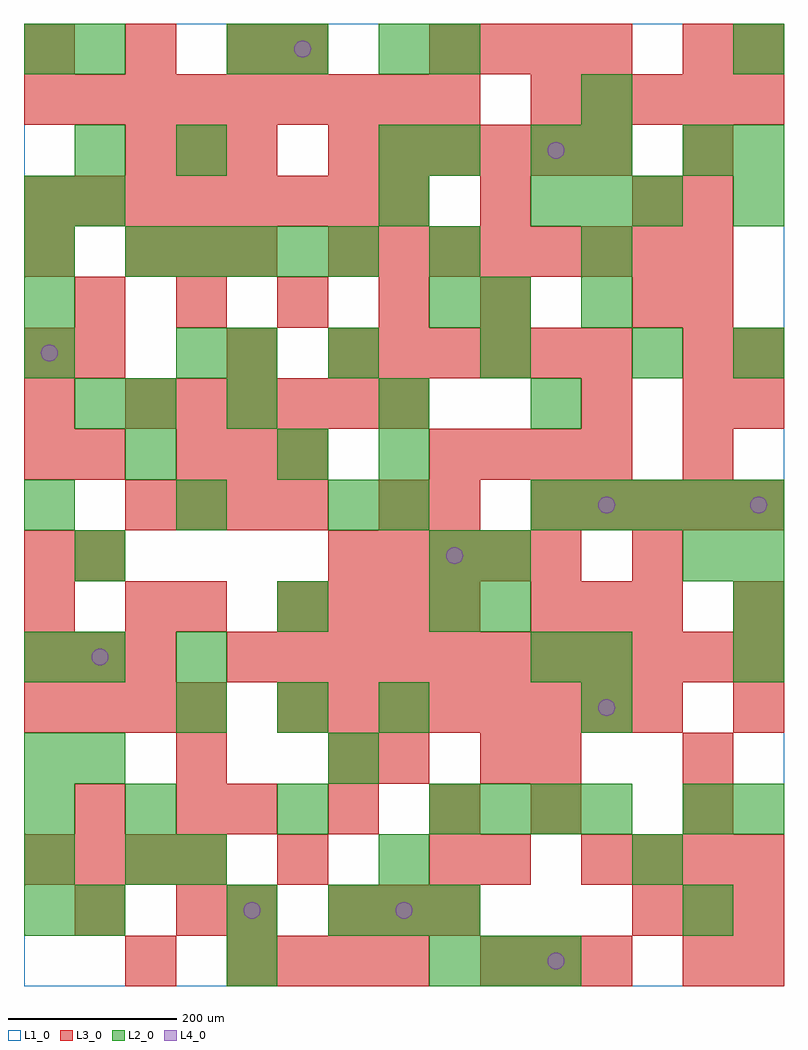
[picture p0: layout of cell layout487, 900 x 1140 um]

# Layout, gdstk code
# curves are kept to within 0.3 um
import gdstk
lib = gdstk.Library(unit=1e-6, precision=1e-09)
def R(c, l, rs):  # rectangles x0, y0, x1, y1
    for r in rs: c.add(gdstk.rectangle(r[:2], r[2:], *l))
def A(c, l, x, y, w, h, nx, ny, dx, dy):  # array of equal rectangles
    R(c, l, [(x+i*dx, y+j*dy, x+i*dx+w, y+j*dy+h) for i in range(nx) for j in range(ny)])
def P(c, l, *ps):  # polygons
    for p in ps: c.add(gdstk.Polygon(p, *l))
L1_0 = (1, 0)
L2_0 = (2, 0)
L3_0 = (3, 0)
L4_0 = (4, 0)

layout487 = lib.new_cell('layout487')
R(layout487, L1_0, [(0,0,900,1140)])
A(layout487, L2_0, 480, 0, 60, 60, 3, 1, 60, 0)
A(layout487, L2_0, 0, 60, 60, 60, 1, 4, 0, 60)
A(layout487, L2_0, 360, 60, 60, 60, 3, 1, 60, 0)
A(layout487, L2_0, 120, 180, 60, 60, 3, 1, 180, 0)
A(layout487, L2_0, 540, 180, 60, 60, 3, 1, 60, 0)
A(layout487, L2_0, 60, 240, 60, 60, 1, 3, 0, 120)
A(layout487, L2_0, 180, 300, 60, 60, 3, 1, 120, 0)
A(layout487, L2_0, 840, 360, 60, 60, 1, 3, 0, 60)
A(layout487, L2_0, 0, 540, 60, 60, 3, 1, 180, 0)
A(layout487, L2_0, 600, 540, 60, 60, 5, 1, 60, 0)
A(layout487, L2_0, 240, 660, 60, 60, 3, 1, 180, 0)
A(layout487, L2_0, 0, 720, 60, 60, 1, 4, 0, 60)
A(layout487, L2_0, 360, 720, 60, 60, 3, 1, 180, 0)
A(layout487, L2_0, 120, 840, 60, 60, 5, 1, 60, 0)
A(layout487, L2_0, 480, 840, 60, 60, 1, 3, 0, 120)
A(layout487, L2_0, 600, 900, 60, 60, 3, 1, 60, 0)
R(layout487, L2_0, [(240,0,300,60), (60,60,120,120), (240,60,300,120), (780,60,840,120), (120,120,180,180), (180,120,240,180), (420,120,480,180), (720,120,780,180), (780,180,840,240), (840,180,900,240), (360,240,420,300), (660,300,720,360), (0,360,60,420), (180,360,240,420), (600,360,660,420), (660,360,720,420), (300,420,360,480), (480,420,540,480), (540,420,600,480), (480,480,540,540), (540,480,600,540), (780,480,840,540), (420,540,480,600), (120,600,180,660), (300,600,360,660), (420,600,480,660), (60,660,120,720), (120,660,180,720), (180,720,240,780), (240,720,300,780), (840,720,900,780), (480,780,540,840), (540,780,600,840), (660,780,720,840), (660,840,720,900), (60,900,120,960), (420,900,480,960), (840,900,900,960), (60,960,120,1020), (180,960,240,1020), (420,960,480,1020), (600,960,660,1020), (660,960,720,1020), (780,960,840,1020), (840,960,900,1020), (660,1020,720,1080), (0,1080,60,1140), (60,1080,120,1140), (240,1080,300,1140), (300,1080,360,1140), (420,1080,480,1140), (840,1080,900,1140)])
A(layout487, L3_0, 240, 0, 60, 60, 4, 1, 60, 0)
A(layout487, L3_0, 540, 0, 60, 60, 3, 1, 60, 0)
A(layout487, L3_0, 360, 60, 60, 60, 3, 1, 60, 0)
A(layout487, L3_0, 720, 60, 60, 60, 3, 1, 60, 0)
A(layout487, L3_0, 0, 120, 60, 60, 4, 2, 60, 180)
A(layout487, L3_0, 660, 120, 60, 60, 4, 1, 60, 0)
A(layout487, L3_0, 240, 180, 60, 60, 4, 1, 120, 0)
A(layout487, L3_0, 300, 300, 60, 60, 8, 1, 60, 0)
A(layout487, L3_0, 0, 360, 60, 60, 3, 1, 60, 0)
A(layout487, L3_0, 240, 360, 60, 60, 11, 1, 60, 0)
A(layout487, L3_0, 300, 420, 60, 60, 4, 1, 60, 0)
A(layout487, L3_0, 600, 420, 60, 60, 3, 1, 60, 0)
A(layout487, L3_0, 60, 480, 60, 60, 1, 3, 0, 120)
A(layout487, L3_0, 360, 480, 60, 60, 5, 1, 60, 0)
A(layout487, L3_0, 120, 540, 60, 60, 4, 1, 60, 0)
A(layout487, L3_0, 600, 540, 60, 60, 5, 2, 60, 480)
A(layout487, L3_0, 0, 600, 60, 60, 1, 3, 0, 60)
A(layout487, L3_0, 180, 600, 60, 60, 3, 1, 60, 0)
A(layout487, L3_0, 480, 600, 60, 60, 4, 2, 60, 480)
A(layout487, L3_0, 780, 600, 60, 60, 1, 4, 0, 60)
A(layout487, L3_0, 120, 660, 60, 60, 6, 1, 60, 0)
A(layout487, L3_0, 360, 720, 60, 60, 6, 2, 60, 240)
A(layout487, L3_0, 60, 780, 60, 60, 5, 1, 120, 0)
A(layout487, L3_0, 120, 840, 60, 60, 3, 2, 60, 120)
A(layout487, L3_0, 360, 840, 60, 60, 8, 1, 60, 0)
A(layout487, L3_0, 0, 900, 60, 60, 8, 1, 60, 0)
A(layout487, L3_0, 0, 1020, 60, 60, 9, 1, 60, 0)
A(layout487, L3_0, 0, 1080, 60, 60, 3, 1, 120, 0)
R(layout487, L3_0, [(120,0,180,60), (780,0,840,60), (840,0,900,60), (60,60,120,120), (180,60,240,120), (240,60,300,120), (300,120,360,180), (480,120,540,180), (540,120,600,180), (60,180,120,240), (180,180,240,240), (780,180,840,240), (180,240,240,300), (360,240,420,300), (420,240,480,300), (540,240,600,300), (600,240,660,300), (780,240,840,300), (840,300,900,360), (0,420,60,480), (120,420,180,480), (180,420,240,480), (840,420,900,480), (0,480,60,540), (720,480,780,540), (420,540,480,600), (480,540,540,600), (660,660,720,720), (840,660,900,720), (240,720,300,780), (840,720,900,780), (720,780,780,840), (0,840,60,900), (540,900,600,960), (720,900,780,960), (780,900,840,960), (780,960,840,1020), (300,1080,360,1140), (780,1080,840,1140), (840,1080,900,1140)])
P(layout487, L4_0, [(40,750),(39.239,753.827),(37.071,757.071),(33.827,759.239),(30,760),(26.173,759.239),(22.929,757.071),(20.761,753.827),(20,750),(20.761,746.173),(22.929,742.929),(26.173,740.761),(30,740),(33.827,740.761),(37.071,742.929),(39.239,746.173)],
  [(100,390),(99.239,393.827),(97.071,397.071),(93.827,399.239),(90,400),(86.173,399.239),(82.929,397.071),(80.761,393.827),(80,390),(80.761,386.173),(82.929,382.929),(86.173,380.761),(90,380),(93.827,380.761),(97.071,382.929),(99.239,386.173)],
  [(280,90),(279.239,93.827),(277.071,97.071),(273.827,99.239),(270,100),(266.173,99.239),(262.929,97.071),(260.761,93.827),(260,90),(260.761,86.173),(262.929,82.929),(266.173,80.761),(270,80),(273.827,80.761),(277.071,82.929),(279.239,86.173)],
  [(340,1110),(339.239,1113.827),(337.071,1117.071),(333.827,1119.239),(330,1120),(326.173,1119.239),(322.929,1117.071),(320.761,1113.827),(320,1110),(320.761,1106.173),(322.929,1102.929),(326.173,1100.761),(330,1100),(333.827,1100.761),(337.071,1102.929),(339.239,1106.173)],
  [(460,90),(459.239,93.827),(457.071,97.071),(453.827,99.239),(450,100),(446.173,99.239),(442.929,97.071),(440.761,93.827),(440,90),(440.761,86.173),(442.929,82.929),(446.173,80.761),(450,80),(453.827,80.761),(457.071,82.929),(459.239,86.173)],
  [(520,510),(519.239,513.827),(517.071,517.071),(513.827,519.239),(510,520),(506.173,519.239),(502.929,517.071),(500.761,513.827),(500,510),(500.761,506.173),(502.929,502.929),(506.173,500.761),(510,500),(513.827,500.761),(517.071,502.929),(519.239,506.173)],
  [(640,30),(639.239,33.827),(637.071,37.071),(633.827,39.239),(630,40),(626.173,39.239),(622.929,37.071),(620.761,33.827),(620,30),(620.761,26.173),(622.929,22.929),(626.173,20.761),(630,20),(633.827,20.761),(637.071,22.929),(639.239,26.173)],
  [(640,990),(639.239,993.827),(637.071,997.071),(633.827,999.239),(630,1000),(626.173,999.239),(622.929,997.071),(620.761,993.827),(620,990),(620.761,986.173),(622.929,982.929),(626.173,980.761),(630,980),(633.827,980.761),(637.071,982.929),(639.239,986.173)],
  [(700,330),(699.239,333.827),(697.071,337.071),(693.827,339.239),(690,340),(686.173,339.239),(682.929,337.071),(680.761,333.827),(680,330),(680.761,326.173),(682.929,322.929),(686.173,320.761),(690,320),(693.827,320.761),(697.071,322.929),(699.239,326.173)],
  [(700,570),(699.239,573.827),(697.071,577.071),(693.827,579.239),(690,580),(686.173,579.239),(682.929,577.071),(680.761,573.827),(680,570),(680.761,566.173),(682.929,562.929),(686.173,560.761),(690,560),(693.827,560.761),(697.071,562.929),(699.239,566.173)],
  [(880,570),(879.239,573.827),(877.071,577.071),(873.827,579.239),(870,580),(866.173,579.239),(862.929,577.071),(860.761,573.827),(860,570),(860.761,566.173),(862.929,562.929),(866.173,560.761),(870,560),(873.827,560.761),(877.071,562.929),(879.239,566.173)])

lib.write_gds('layout487.gds')
